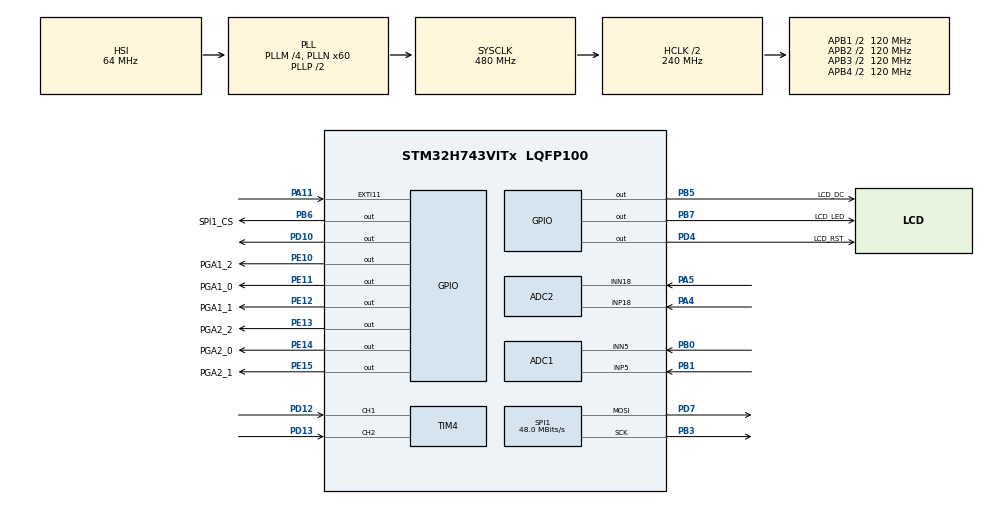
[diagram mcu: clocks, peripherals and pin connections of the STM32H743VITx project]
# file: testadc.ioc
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ADC1.Channel-0\#ChannelRegularConversion=ADC_CHANNEL_5
ADC1.ClockPrescaler=ADC_CLOCK_ASYNC_DIV2
ADC1.ContinuousConvMode=ENABLE
ADC1.ConversionDataManagement=ADC_CONVERSIONDATA_DMA_CIRCULAR
ADC1.ExternalTrigConv=ADC_SOFTWARE_START
ADC1.Mode=ADC_MODE_INDEPENDENT
ADC1.NbrOfConversion=1
ADC1.NbrOfConversionFlag=1
ADC1.OffsetNumber-0\#ChannelRegularConversion=ADC_OFFSET_NONE
ADC1.OffsetSignedSaturation-0\#ChannelRegularConversion=DISABLE
ADC1.Rank-0\#ChannelRegularConversion=1
ADC1.SamplingTime-0\#ChannelRegularConversion=ADC_SAMPLETIME_8CYCLES_5
ADC1.SingleDiff-0\#ChannelRegularConversion=ADC_DIFFERENTIAL_ENDED
ADC1.master=1
ADC2.Channel-0\#ChannelRegularConversion=ADC_CHANNEL_18
ADC2.ClockPrescaler=ADC_CLOCK_ASYNC_DIV2
ADC2.ContinuousConvMode=ENABLE
ADC2.ConversionDataManagement=ADC_CONVERSIONDATA_DMA_CIRCULAR
ADC2.NbrOfConversionFlag=1
ADC2.OffsetNumber-0\#ChannelRegularConversion=ADC_OFFSET_NONE
ADC2.OffsetSignedSaturation-0\#ChannelRegularConversion=DISABLE
ADC2.Rank-0\#ChannelRegularConversion=1
ADC2.SamplingTime-0\#ChannelRegularConversion=ADC_SAMPLETIME_8CYCLES_5
ADC2.SingleDiff-0\#ChannelRegularConversion=ADC_DIFFERENTIAL_ENDED
CORTEX_M7.CPU_DCache=Disabled
CORTEX_M7.CPU_ICache=Disabled
CORTEX_M7.MPU_Control=MPU_PRIVILEGED_DEFAULT
CORTEX_M7.default_mode_Activation=1
Dma.ADC1.0.Direction=DMA_PERIPH_TO_MEMORY
Dma.ADC1.0.EventEnable=DISABLE
Dma.ADC1.0.FIFOMode=DMA_FIFOMODE_DISABLE
Dma.ADC1.0.Instance=DMA1_Stream1
Dma.ADC1.0.MemDataAlignment=DMA_MDATAALIGN_WORD
Dma.ADC1.0.MemInc=DMA_MINC_ENABLE
Dma.ADC1.0.Mode=DMA_CIRCULAR
Dma.ADC1.0.PeriphDataAlignment=DMA_PDATAALIGN_WORD
Dma.ADC1.0.PeriphInc=DMA_PINC_DISABLE
Dma.ADC1.0.Polarity=HAL_DMAMUX_REQ_GEN_RISING
Dma.ADC1.0.Priority=DMA_PRIORITY_LOW
Dma.ADC1.0.RequestNumber=1
Dma.ADC1.0.SignalID=NONE
Dma.ADC1.0.SyncEnable=DISABLE
Dma.ADC1.0.SyncPolarity=HAL_DMAMUX_SYNC_NO_EVENT
Dma.ADC1.0.SyncRequestNumber=1
Dma.ADC1.0.SyncSignalID=NONE
Dma.ADC2.2.Direction=DMA_PERIPH_TO_MEMORY
Dma.ADC2.2.EventEnable=DISABLE
Dma.ADC2.2.FIFOMode=DMA_FIFOMODE_DISABLE
Dma.ADC2.2.Instance=DMA1_Stream2
Dma.ADC2.2.MemDataAlignment=DMA_MDATAALIGN_HALFWORD
Dma.ADC2.2.MemInc=DMA_MINC_ENABLE
Dma.ADC2.2.Mode=DMA_NORMAL
Dma.ADC2.2.PeriphDataAlignment=DMA_PDATAALIGN_HALFWORD
Dma.ADC2.2.PeriphInc=DMA_PINC_DISABLE
Dma.ADC2.2.Polarity=HAL_DMAMUX_REQ_GEN_RISING
Dma.ADC2.2.Priority=DMA_PRIORITY_LOW
Dma.ADC2.2.RequestNumber=1
Dma.ADC2.2.SignalID=NONE
Dma.ADC2.2.SyncEnable=DISABLE
Dma.ADC2.2.SyncPolarity=HAL_DMAMUX_SYNC_NO_EVENT
Dma.ADC2.2.SyncRequestNumber=1
Dma.ADC2.2.SyncSignalID=NONE
Dma.Request0=ADC1
Dma.Request1=SPI1_TX
Dma.Request2=ADC2
Dma.SPI1_TX.1.Direction=DMA_MEMORY_TO_PERIPH
Dma.SPI1_TX.1.EventEnable=DISABLE
Dma.SPI1_TX.1.FIFOMode=DMA_FIFOMODE_DISABLE
Dma.SPI1_TX.1.Instance=DMA1_Stream0
Dma.SPI1_TX.1.MemDataAlignment=DMA_MDATAALIGN_BYTE
Dma.SPI1_TX.1.MemInc=DMA_MINC_ENABLE
Dma.SPI1_TX.1.Mode=DMA_NORMAL
Dma.SPI1_TX.1.PeriphDataAlignment=DMA_PDATAALIGN_BYTE
Dma.SPI1_TX.1.PeriphInc=DMA_PINC_DISABLE
Dma.SPI1_TX.1.Polarity=HAL_DMAMUX_REQ_GEN_RISING
Dma.SPI1_TX.1.Priority=DMA_PRIORITY_LOW
Dma.SPI1_TX.1.RequestNumber=1
Dma.SPI1_TX.1.SignalID=NONE
Dma.SPI1_TX.1.SyncEnable=DISABLE
Dma.SPI1_TX.1.SyncPolarity=HAL_DMAMUX_SYNC_NO_EVENT
Dma.SPI1_TX.1.SyncRequestNumber=1
Dma.SPI1_TX.1.SyncSignalID=NONE
Mcu.Family=STM32H7
Mcu.Name=STM32H743VITx
Mcu.Package=LQFP100
NVIC.ADC_IRQn=true\:0\:0\:false\:false\:true\:true\:true\:true
NVIC.DMA1_Stream0_IRQn=true\:0\:0\:false\:false\:true\:false\:true\:true
NVIC.DMA1_Stream1_IRQn=true\:0\:0\:false\:false\:true\:false\:true\:true
NVIC.DMA1_Stream2_IRQn=true\:0\:0\:false\:false\:true\:false\:true\:true
NVIC.PriorityGroup=NVIC_PRIORITYGROUP_4
NVIC.SPI1_IRQn=true\:0\:0\:false\:false\:true\:false\:true\:true
PA11.GPIO_PuPd=GPIO_PULLUP
PA11.Signal=GPXTI11
PA13\ (JTMS/SWDIO).Mode=Serial_Wire
PA13\ (JTMS/SWDIO).Signal=DEBUG_JTMS-SWDIO
PA14\ (JTCK/SWCLK).Mode=Serial_Wire
PA14\ (JTCK/SWCLK).Signal=DEBUG_JTCK-SWCLK
PA4.Signal=ADCx_INP18
PA5.Signal=ADCx_INN18
PB0.Signal=SharedAnalog_PB0
PB1.Signal=ADCx_INP5
PB3\ (JTDO/TRACESWO).GPIO_PuPd=GPIO_NOPULL
PB3\ (JTDO/TRACESWO).GPIO_Speed=GPIO_SPEED_FREQ_VERY_HIGH
PB3\ (JTDO/TRACESWO).Mode=TX_Only_Simplex_Unidirect_Master
PB3\ (JTDO/TRACESWO).Signal=SPI1_SCK
PB5.GPIO_Label=LCD_DC
PB5.Signal=GPIO_Output
PB6.GPIO_Label=SPI1_CS
PB6.Signal=GPIO_Output
PB7.GPIO_Label=LCD_LED
PB7.Signal=GPIO_Output
PC14-OSC32_IN\ (OSC32_IN).Mode=LSE-External-Oscillator
PC14-OSC32_IN\ (OSC32_IN).Signal=RCC_OSC32_IN
PC15-OSC32_OUT\ (OSC32_OUT).Mode=LSE-External-Oscillator
PC15-OSC32_OUT\ (OSC32_OUT).Signal=RCC_OSC32_OUT
PD10.Signal=GPIO_Output
PD12.Signal=S_TIM4_CH1
PD13.Signal=S_TIM4_CH2
PD4.GPIO_Label=LCD_RST
PD4.Signal=GPIO_Output
PD7.GPIO_Speed=GPIO_SPEED_FREQ_VERY_HIGH
PD7.Mode=TX_Only_Simplex_Unidirect_Master
PD7.Signal=SPI1_MOSI
PE10.GPIO_Label=PGA1_2
PE10.Signal=GPIO_Output
PE11.GPIO_Label=PGA1_0
PE11.Signal=GPIO_Output
PE12.GPIO_Label=PGA1_1
PE12.Signal=GPIO_Output
PE13.GPIO_Label=PGA2_2
PE13.Signal=GPIO_Output
PE14.GPIO_Label=PGA2_0
PE14.Signal=GPIO_Output
PE15.GPIO_Label=PGA2_1
PE15.Signal=GPIO_Output
PH0-OSC_IN\ (PH0).Mode=HSE-External-Oscillator
PH0-OSC_IN\ (PH0).Signal=RCC_OSC_IN
PH1-OSC_OUT\ (PH1).Mode=HSE-External-Oscillator
PH1-OSC_OUT\ (PH1).Signal=RCC_OSC_OUT
ProjectManager.HeapSize=0x2000
ProjectManager.StackSize=0x4000
ProjectManager.TargetToolchain=MDK-ARM V5.32
RCC.ADCFreq_Value=80000000
RCC.APB1Freq_Value=120000000
RCC.APB2Freq_Value=120000000
RCC.APB3Freq_Value=120000000
RCC.APB4Freq_Value=120000000
RCC.CortexFreq_Value=480000000
RCC.D1PPRE=RCC_APB3_DIV2
RCC.D2PPRE1=RCC_APB1_DIV2
RCC.D2PPRE2=RCC_APB2_DIV2
RCC.D3PPRE=RCC_APB4_DIV2
RCC.DIVM1=4
RCC.DIVM2=4
RCC.DIVN1=60
RCC.DIVN2=10
RCC.DIVQ1=5
RCC.HCLKFreq_Value=240000000
RCC.HPRE=RCC_HCLK_DIV2
RCC.PLL2FRACN=0
RCC.PLL3FRACN=0
RCC.PLLFRACN=0
RCC.SYSCLKFreq_VALUE=480000000
RCC.SYSCLKSource=RCC_SYSCLKSOURCE_PLLCLK
RCC.USBFreq_Value=192000000
SH.ADCx_INN18.0=ADC2_INN18,IN18-Differential
SH.ADCx_INP18.0=ADC2_INP18,IN18-Differential
SH.ADCx_INP5.0=ADC1_INP5,IN5-Differential
SH.ADCx_INP5.1=ADC2_INP5
SH.S_TIM4_CH1.0=TIM4_CH1,Encoder_Interface
SH.S_TIM4_CH2.0=TIM4_CH2,Encoder_Interface
SH.SharedAnalog_PB0.0=ADC1_INP9
SH.SharedAnalog_PB0.1=ADC2_INN5
SH.SharedAnalog_PB0.2=ADC1_INN5,IN5-Differential
SPI1.BaudRatePrescaler=SPI_BAUDRATEPRESCALER_4
SPI1.CalculateBaudRate=48.0 MBits/s
SPI1.DataSize=SPI_DATASIZE_8BIT
SPI1.Direction=SPI_DIRECTION_2LINES_TXONLY
SPI1.Mode=SPI_MODE_MASTER
SPI1.VirtualType=VM_MASTER
TIM3.Period=50
TIM3.Prescaler=239
TIM3.TIM_MasterOutputTrigger=TIM_TRGO_UPDATE
VP_MEMORYMAP_VS_MEMORYMAP.Mode=CurAppReg
VP_TIM3_VS_ClockSourceINT.Mode=Internal
board=custom

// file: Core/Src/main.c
/* USER CODE BEGIN Header */
/**
  ******************************************************************************
  * @file           : main.c
  * @brief          : Main program body
  ******************************************************************************
  */
/* USER CODE END Header */
#include "main.h"
#include "adc.h"
#include "dma.h"
#include "spi.h"
#include "tim.h"
#include "gpio.h"

/* USER CODE BEGIN Includes */
#include "ILI9488.h"
#include "adc_driver.h"
#include "scope.h"
#include "pga.h"
#include "encoder.h"
/* USER CODE END Includes */

/* USER CODE BEGIN PD */
/* ADC1 双模式 (保留未启用) */
#define ADC_BUF_SIZE  4
ALIGN_32BYTES(uint32_t adc_dual_buffer[ADC_BUF_SIZE]) __attribute__((section(".RAM_D2"))) = {0};

/* ADC2 单通道 DMA (CH18, 差分, 16bit) */
#define ADC2_BUF_SIZE  4
ALIGN_32BYTES(uint16_t adc2_buf[ADC2_BUF_SIZE]) __attribute__((section(".RAM_D2"))) = {0};

/* ── adc_driver.c 需要的旧版全局符号 (保留, 未使用) ── */
#define HIST_LEN_OLD  480
int16_t  g_hist1[HIST_LEN_OLD] = {0};
int16_t  g_hist2[HIST_LEN_OLD] = {0};
volatile uint32_t g_hist_idx  = 0;
float diff_voltage_1 = 0.0f;
float diff_voltage_2 = 0.0f;

/* ── 三档采样时间 (ADC_CLK=20MHz, DIV4) ── */
static const uint32_t sampling_times[] = {
    ADC_SAMPLETIME_8CYCLES_5,    /*  8.5 周期 → ~1.05µs/点 →  200µs/屏 */
    ADC_SAMPLETIME_64CYCLES_5,   /* 64.5 周期 → ~3.85µs/点 →  770µs/屏 */
    ADC_SAMPLETIME_387CYCLES_5,  /* 387.5周期 → ~20.0µs/点 → 4.0ms/屏 */
};
/* USER CODE END PD */

void SystemClock_Config(void);
void PeriphCommonClock_Config(void);
static void MPU_Config(void);

/* USER CODE BEGIN 0 */
void HAL_ADC_ConvCpltCallback(ADC_HandleTypeDef* hadc)
{
    if (hadc->Instance == ADC2)
    {
        SCB_InvalidateDCache_by_Addr((uint32_t *)adc2_buf, ADC2_BUF_SIZE * 2);

        for (int i = 0; i < ADC2_BUF_SIZE; i++) {
            int16_t raw = (int16_t)adc2_buf[i];
            Scope_PushSample(0, raw);   /* CH1=0, CH2=raw */
        }
    }
}

static void set_adc2_sampling_time(uint32_t sampling_time)
{
    ADC_ChannelConfTypeDef sConfig = {0};
    /* 先停止 */
    HAL_ADC_Stop_DMA(&hadc2);

    sConfig.Channel = ADC_CHANNEL_18;
    sConfig.Rank = ADC_REGULAR_RANK_1;
    sConfig.SamplingTime = sampling_time;
    sConfig.SingleDiff = ADC_DIFFERENTIAL_ENDED;
    sConfig.OffsetNumber = ADC_OFFSET_NONE;
    sConfig.Offset = 0;
    sConfig.OffsetSignedSaturation = DISABLE;
    HAL_ADC_ConfigChannel(&hadc2, &sConfig);

    /* 重新启动 */
    HAL_ADCEx_Calibration_Start(&hadc2, ADC_CALIB_OFFSET, ADC_DIFFERENTIAL_ENDED);
    HAL_ADC_Start_DMA(&hadc2, (uint32_t*)adc2_buf, ADC2_BUF_SIZE);

    /* 计算实际 ADC 采样间隔 (ADC_CLK=20MHz, 50ns/cycle) */
    static const float adc_cycle_ns = 50.0f;
    static const float fixed_cycles = 12.5f;   /* 逐次逼近固定周期 */
    float sample_ns;
    if (sampling_time == ADC_SAMPLETIME_8CYCLES_5)    sample_ns = 8.5f * 50.0f*1.6f*1.28f*1.1f*1.06f;
    else if (sampling_time == ADC_SAMPLETIME_64CYCLES_5)  sample_ns = 64.5f * 50.0f*1.87f*1.1f;
    else if (sampling_time == ADC_SAMPLETIME_387CYCLES_5) sample_ns = 387.5f * 50.0f*2;
    else sample_ns = 8.5f * 50.0f;
    g_adc_interval_us = (sample_ns + (12.5f * 50.0f)) / 1000.0f;
}
/* USER CODE END 0 */

int main(void)
{

  /* MPU Configuration--------------------------------------------------------*/
  MPU_Config();

  /* MCU Configuration--------------------------------------------------------*/

  /* Reset of all peripherals, Initializes the Flash interface and the Systick. */
  HAL_Init();

  /* Configure the system clock */
  SystemClock_Config();

  /* Configure the peripherals common clocks */
  PeriphCommonClock_Config();

  /* Initialize all configured peripherals */
  MX_GPIO_Init();
  MX_DMA_Init();
  MX_ADC1_Init();
  MX_TIM3_Init();
  MX_ADC2_Init();
  MX_SPI1_Init();
  MX_TIM4_Init();
  /* USER CODE BEGIN 2 */
  LCD_Init();
  Scope_Init();
  PGA_SET(1.0);

  if (HAL_ADCEx_Calibration_Start(&hadc2, ADC_CALIB_OFFSET, ADC_DIFFERENTIAL_ENDED) != HAL_OK)
      Error_Handler();

  if (HAL_ADC_Start_DMA(&hadc2, (uint32_t*)adc2_buf, ADC2_BUF_SIZE) != HAL_OK)
      Error_Handler();

  /* 初始化 ADC 间隔 (对应默认 SamplingTime=8.5) */
  g_adc_interval_us = 1.05f;

  HAL_GPIO_WritePin(LCD_LED_GPIO_Port, LCD_LED_Pin, GPIO_PIN_SET);
  /* USER CODE END 2 */

  Encoder_Init();      /* 启动 TIM4 编码器 */

  bool running = true;
  bool coupling_ac = false;
  int  edit_mode = 0;
  uint32_t btn_down_tick = 0;
  bool btn_was_down = false;

  /* Infinite loop */
  while (1)
  {

    /* USER CODE BEGIN 3 */

    bool btn_now = (HAL_GPIO_ReadPin(GPIOA, GPIO_PIN_11) == GPIO_PIN_RESET);
    if (btn_now && !btn_was_down) btn_down_tick = HAL_GetTick();
    if (!btn_now && btn_was_down) {
        uint32_t held = HAL_GetTick() - btn_down_tick;
        if (held > 800) {
            edit_mode = (edit_mode + 1) % 3;   /* 0=TB, 1=VS, 2=CPL */
        } else if (held > 50) {
            if (edit_mode == 2) {
                coupling_ac = !coupling_ac;
                HAL_GPIO_WritePin(GPIOD, GPIO_PIN_10,
                    coupling_ac ? GPIO_PIN_SET : GPIO_PIN_RESET);
            } else {
                running = !running;
                if (running) Scope_Clear();
            }
        }
    }
    btn_was_down = btn_now;

    if (running) {
        int32_t delta = Encoder_ReadDelta();
        if (delta != 0) {
            //Scope_Clear();
            if (edit_mode == 0) {
                /* ── 旋转修改 ADC 采样时间 (硬件时基) ── */
                int cur = (int)g_scope.timebase;
                if (delta > 0)
                    cur = (cur + 1) % TIMEBASE_COUNT;
                else
                    cur = (cur == 0) ? TIMEBASE_COUNT - 1 : (cur - 1);
                g_scope.timebase = (ScopeTimebase)cur;

                set_adc2_sampling_time(sampling_times[g_scope.timebase]);
            } else if (edit_mode == 1) {
                /* ── 旋转切换垂直灵敏度 ── */
                int cur = (int)g_scope.vert_scale;
                if (delta > 0) cur = (cur + 1) % VERT_COUNT;
                else cur = (cur == 0) ? VERT_COUNT - 1 : (cur - 1);
                g_scope.vert_scale = (ScopeVertScale)cur;
            }
        }

        /* 同步 UI 状态到 g_scope (Scope_Draw 需要) */
        g_scope.edit_mode = edit_mode;
        g_scope.coupling_ac = coupling_ac;

        Scope_ProcessFrame();
        Scope_Measure();
        if (g_scope.frame_ready) {
            Scope_Draw();
        }
    } else {
        LCD_DrawString(60, 140, "PAUSED", LCD_RED, LCD_BLACK);
    }
    HAL_Delay(10);
  }
  /* USER CODE END 3 */
}

void SystemClock_Config(void)
{
  RCC_OscInitTypeDef RCC_OscInitStruct = {0};
  RCC_ClkInitTypeDef RCC_ClkInitStruct = {0};

  /** Supply configuration update enable
  */
  HAL_PWREx_ConfigSupply(PWR_LDO_SUPPLY);

  /** Configure the main internal regulator output voltage
  */
  __HAL_PWR_VOLTAGESCALING_CONFIG(PWR_REGULATOR_VOLTAGE_SCALE0);

  while(!__HAL_PWR_GET_FLAG(PWR_FLAG_VOSRDY)) {}

  /** Initializes the RCC Oscillators according to the specified parameters
  * in the RCC_OscInitTypeDef structure.
  */
  RCC_OscInitStruct.OscillatorType = RCC_OSCILLATORTYPE_HSI;
  RCC_OscInitStruct.HSIState = RCC_HSI_DIV1;
  RCC_OscInitStruct.HSICalibrationValue = RCC_HSICALIBRATION_DEFAULT;
  RCC_OscInitStruct.PLL.PLLState = RCC_PLL_ON;
  RCC_OscInitStruct.PLL.PLLSource = RCC_PLLSOURCE_HSI;
  RCC_OscInitStruct.PLL.PLLM = 4;
  RCC_OscInitStruct.PLL.PLLN = 60;
  RCC_OscInitStruct.PLL.PLLP = 2;
  RCC_OscInitStruct.PLL.PLLQ = 5;
  RCC_OscInitStruct.PLL.PLLR = 2;
  RCC_OscInitStruct.PLL.PLLRGE = RCC_PLL1VCIRANGE_3;
  RCC_OscInitStruct.PLL.PLLVCOSEL = RCC_PLL1VCOWIDE;
  RCC_OscInitStruct.PLL.PLLFRACN = 0;
  if (HAL_RCC_OscConfig(&RCC_OscInitStruct) != HAL_OK)
  {
    Error_Handler();
  }

  /** Initializes the CPU, AHB and APB buses clocks
  */
  RCC_ClkInitStruct.ClockType = RCC_CLOCKTYPE_HCLK|RCC_CLOCKTYPE_SYSCLK
                              |RCC_CLOCKTYPE_PCLK1|RCC_CLOCKTYPE_PCLK2
                              |RCC_CLOCKTYPE_D3PCLK1|RCC_CLOCKTYPE_D1PCLK1;
  RCC_ClkInitStruct.SYSCLKSource = RCC_SYSCLKSOURCE_PLLCLK;
  RCC_ClkInitStruct.SYSCLKDivider = RCC_SYSCLK_DIV1;
  RCC_ClkInitStruct.AHBCLKDivider = RCC_HCLK_DIV2;
  RCC_ClkInitStruct.APB3CLKDivider = RCC_APB3_DIV2;
  RCC_ClkInitStruct.APB1CLKDivider = RCC_APB1_DIV2;
  RCC_ClkInitStruct.APB2CLKDivider = RCC_APB2_DIV2;
  RCC_ClkInitStruct.APB4CLKDivider = RCC_APB4_DIV2;

  if (HAL_RCC_ClockConfig(&RCC_ClkInitStruct, FLASH_LATENCY_4) != HAL_OK)
  {
    Error_Handler();
  }
}

void PeriphCommonClock_Config(void)
{
  RCC_PeriphCLKInitTypeDef PeriphClkInitStruct = {0};

  /** Initializes the peripherals clock
  */
  PeriphClkInitStruct.PeriphClockSelection = RCC_PERIPHCLK_ADC;
  PeriphClkInitStruct.PLL2.PLL2M = 4;
  PeriphClkInitStruct.PLL2.PLL2N = 10;
  PeriphClkInitStruct.PLL2.PLL2P = 2;
  PeriphClkInitStruct.PLL2.PLL2Q = 2;
  PeriphClkInitStruct.PLL2.PLL2R = 2;
  PeriphClkInitStruct.PLL2.PLL2RGE = RCC_PLL2VCIRANGE_3;
  PeriphClkInitStruct.PLL2.PLL2VCOSEL = RCC_PLL2VCOMEDIUM;
  PeriphClkInitStruct.PLL2.PLL2FRACN = 0;
  PeriphClkInitStruct.AdcClockSelection = RCC_ADCCLKSOURCE_PLL2;
  if (HAL_RCCEx_PeriphCLKConfig(&PeriphClkInitStruct) != HAL_OK)
  {
    Error_Handler();
  }
}

 /* MPU Configuration */

void MPU_Config(void)
{
  MPU_Region_InitTypeDef MPU_InitStruct = {0};

  /* Disables the MPU */
  HAL_MPU_Disable();

  /** Initializes and configures the Region and the memory to be protected
  */
  MPU_InitStruct.Enable = MPU_REGION_ENABLE;
  MPU_InitStruct.Number = MPU_REGION_NUMBER0;
  MPU_InitStruct.BaseAddress = 0x0;
  MPU_InitStruct.Size = MPU_REGION_SIZE_4GB;
  MPU_InitStruct.SubRegionDisable = 0x87;
  MPU_InitStruct.TypeExtField = MPU_TEX_LEVEL0;
  MPU_InitStruct.AccessPermission = MPU_REGION_NO_ACCESS;
  MPU_InitStruct.DisableExec = MPU_INSTRUCTION_ACCESS_DISABLE;
  MPU_InitStruct.IsShareable = MPU_ACCESS_SHAREABLE;
  MPU_InitStruct.IsCacheable = MPU_ACCESS_NOT_CACHEABLE;
  MPU_InitStruct.IsBufferable = MPU_ACCESS_NOT_BUFFERABLE;

  HAL_MPU_ConfigRegion(&MPU_InitStruct);
  /* Enables the MPU */
  HAL_MPU_Enable(MPU_PRIVILEGED_DEFAULT);

}

void Error_Handler(void)
{
  __disable_irq();
  while (1)
  {
  }
}
